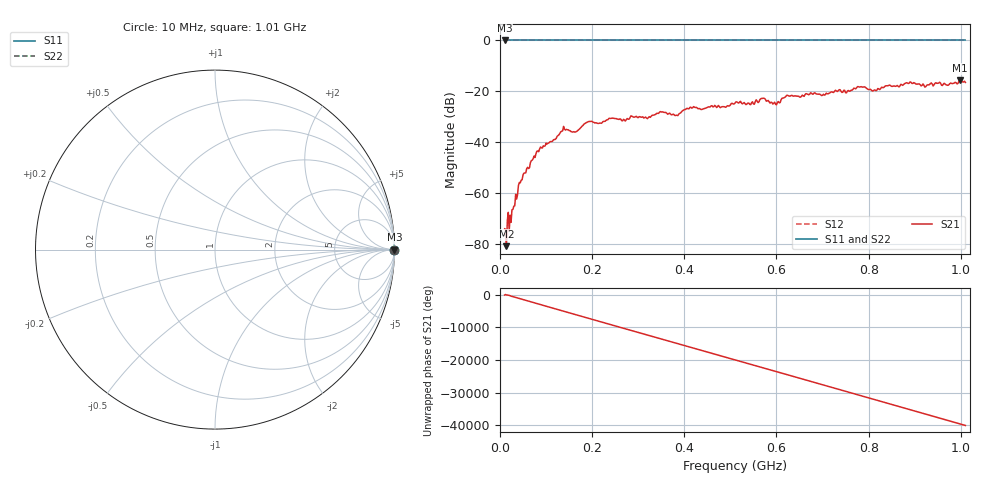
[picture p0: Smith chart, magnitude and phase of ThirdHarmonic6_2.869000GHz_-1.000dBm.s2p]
! 8/17/2025 7:50:14 AM
! C:\ANRITSUVNA\TEMP\TEMP.S2P
! CHANNEL.1
! TR.MEASUREMENT
! RAW.DATA
! RF.CORRECTION.OFF
! AVERAGING.OFF
! IF.BANDWIDTH: 5KHZ
! SWEEPTYPE:  FREQ.SWEEP(Linear)
! Reference Plane Port Info
! PORT:  PORT1  PORT2
! DISTANCE:  0  m  0  m
! TIME:  0  s  0  s
! PHASE.OFFSET:  0  deg.  0  deg.
! LOSS:  0  dB  0  dB
! REF.LOSS:  0  dB  0  dB
! REF.FREQ:  0  Hz  0  Hz
! Power Info
! POWER:  -20  dBm  -20  dBm
! EFF.POWER:  -20  dBm  -20  dBm
! SOURCE.ATTEN:  0  dB  0  dB
! TEST.ATTEN:  0  dB  0  dB
# GHZ S RI R 50.0
! FREQ.GHZ  S11RE  S11IM  S21RE  S21IM  S12RE  S12IM  S22RE  S22IM
!; PortSelection: Port_12
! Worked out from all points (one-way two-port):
!   501 points, 10 MHz to 1.01 GHz, reference 50 ohm
!   highest |S21| = -15.61 dB at 998 MHz (marker M1); lowest = -80.8 dB at 14 MHz (marker M2)
!   lowest |S11| = 0.0 dB at 10 MHz (marker M3)
!   |S11| at or under -10 dB: nowhere
!   |S22| runs from 0.0 to 0.0 dB; largest |S21 - S12| = 1.2
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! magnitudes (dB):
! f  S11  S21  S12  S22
! 10 MHz  0.0  -73.9  0.0  0.0
! 14 MHz  0.0  -80.8  0.0  0.0
! 24 MHz  0.0  -71.4  0.0  0.0
! 44 MHz  0.0  -55.9  0.0  0.0
! 84 MHz  0.0  -43.7  0.0  0.0
! 136 MHz  0.0  -35.5  0.0  0.0
! 162 MHz  0.0  -36.0  0.0  0.0
! 178 MHz  0.0  -33.6  0.0  0.0
! 194 MHz  0.0  -31.8  0.0  0.0
! 344 MHz  0.0  -28.6  0.0  0.0
! 382 MHz  0.0  -29.4  0.0  0.0
! 416 MHz  0.0  -26.6  0.0  0.0
! 510 MHz  0.0  -24.6  0.0  0.0
! 570 MHz  0.0  -22.8  0.0  0.0
! 596 MHz  0.0  -24.2  0.0  0.0
! 622 MHz  0.0  -21.6  0.0  0.0
! 678 MHz  0.0  -21.1  0.0  0.0
! 780 MHz  0.0  -18.3  0.0  0.0
! 812 MHz  0.0  -19.5  0.0  0.0
! 844 MHz  0.0  -17.6  0.0  0.0
! 998 MHz  0.0  -15.6  0.0  0.0
! 1.01 GHz  0.0  -16.5  0.0  0.0
